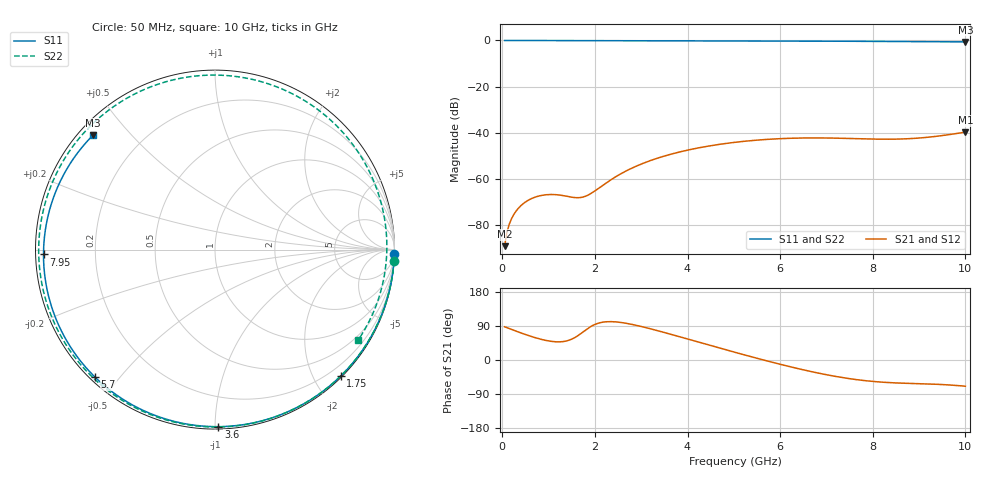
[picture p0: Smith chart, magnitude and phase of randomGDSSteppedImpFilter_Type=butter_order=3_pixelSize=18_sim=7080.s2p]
! freq	dB(S11)	phase(S11)	dB(S12)	phase(S12)
!  dB(S21)	phase(S21)	dB(S22)	phase(S22)
!S-par simulation data
#  GHz  S  DB  R 50
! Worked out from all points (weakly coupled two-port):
!   200 points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, 50 MHz to 10 GHz, reference 50 ohm
!   highest |S21| = -39.68 dB at 10 GHz (marker M1); lowest = -89.1 dB at 50 MHz (marker M2)
!   lowest |S11| = -0.6 dB at 10 GHz (marker M3), VSWR 28.33, Z = 2.04 + j19.8 ohm
!   |S11| at or under -10 dB: nowhere
!   |S22| runs from -0.5 to 0.0 dB; largest |S21 - S12| = 0
!   S11 on the Smith chart (normalised r, x): 50 MHz: 0, -86; 1.75 GHz: 0.02, -2.40; 3.6 GHz: 0.01, -1.02; 5.7 GHz: 0.01, -0.43; 7.95 GHz: 0.02, -0.01; 10 GHz: 0.04, +0.40
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0.05  -0.00 -1.3  -89.06 87.6  -89.06 87.6  -0.00 -3.5
0.15  -0.01 -4.0  -79.59 83.0  -79.59 83.0  -0.01 -10.4
0.25  -0.01 -6.6  -75.29 78.3  -75.29 78.3  -0.03 -17.3
0.4  -0.02 -10.5  -71.56 71.6  -71.56 71.6  -0.04 -27.4
0.7  -0.02 -18.4  -67.90 59.3  -67.90 59.3  -0.06 -47.2
1.2  -0.04 -31.3  -66.84 47.9  -66.84 47.9  -0.09 -77.7
1.75  -0.06 -45.2  -67.75 74.7  -67.75 74.7  -0.11 -107.2
2.15  -0.07 -55.1  -63.00 99.4  -63.00 99.4  -0.12 -126.1
2.55  -0.08 -64.7  -57.83 99.2  -57.83 99.2  -0.13 -143.5
2.95  -0.09 -74.1  -53.93 89.9  -53.93 89.9  -0.14 -159.4
3.4  -0.11 -84.4  -50.66 75.9  -50.66 75.9  -0.15 -176.3
3.6  -0.12 -88.9  -49.47 69.2  -49.47 69.2  -0.16 176.5
4.3  -0.14 -104.2  -46.27 45.1  -46.27 45.1  -0.18 152.3
5.05  -0.18 -119.9  -44.03 19.4  -44.03 19.4  -0.20 127.2
5.7  -0.21 -133.2  -42.86 -1.9  -42.86 -1.9  -0.23 105.6
6.2  -0.25 -143.2  -42.36 -17.3  -42.36 -17.3  -0.24 88.9
6.7  -0.28 -153.2  -42.19 -31.4  -42.19 -31.4  -0.26 72.2
7.3  -0.33 -165.2  -42.33 -45.5  -42.33 -45.5  -0.29 52.1
7.95  -0.39 -178.4  -42.67 -56.0  -42.67 -56.0  -0.31 30.6
8.35  -0.43 173.3  -42.75 -59.6  -42.75 -59.6  -0.34 17.6
9.15  -0.52 156.2  -41.98 -63.0  -41.98 -63.0  -0.40 -7.4
10  -0.61 136.7  -39.68 -69.2  -39.68 -69.2  -0.51 -32.2
